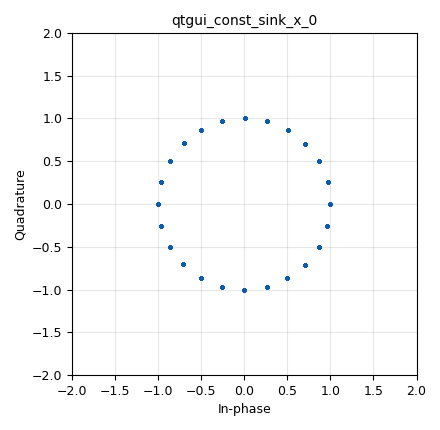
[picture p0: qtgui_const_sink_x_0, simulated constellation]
options:
  parameters:
    author: Gary Schafer
    generate_options: qt_gui
    id: swTunerSinusoids
    output_language: python
    title: Software Tuner - Sinusoid
  states: {}

blocks:
- name: cf
  id: variable_qtgui_entry
  parameters:
    gui_hint: 0,0,1,10
    label: Center Frequency (MHz)
    type: real
    value: '162.3'
  states: {}
- name: freqShift
  id: variable_qtgui_range
  parameters:
    gui_hint: 1,0,1,20
    label: Frequency Shift (kHz)
    start: '-samp_rate/1000'
    step: '1'
    stop: samp_rate/1000
    value: '-100'
  states: {}
- name: rfGain
  id: variable_qtgui_range
  parameters:
    gui_hint: 0,10,1,10
    label: RF Gain (dB)
    start: '0'
    step: '1'
    stop: '50'
    value: '20'
  states: {}
- name: samp_rate
  id: variable
  parameters:
    value: 2.4e6
  states: {}
- name: analog_const_source_x_0
  id: analog_const_source_x
  parameters:
    comment: |-
      Create line at center
      frequency.
    const: '10'
    type: complex
  states: {}
- name: analog_sig_source_x_0
  id: analog_sig_source_x
  parameters:
    amp: '1'
    freq: freqShift*1000
    offset: '0'
    phase: '0'
    samp_rate: samp_rate
    type: complex
    waveform: analog.GR_COS_WAVE
  states: {}
- name: blocks_multiply_xx_0
  id: blocks_multiply_xx
  parameters:
    type: complex
  states: {}
- name: qtgui_const_sink_x_0
  id: qtgui_const_sink_x
  parameters:
    grid: 'True'
    gui_hint: 2,15,20,5
    size: '2400'
    style1: '1'
    type: complex
  states: {}
- name: qtgui_freq_sink_x_0
  id: qtgui_freq_sink_x
  parameters:
    bw: samp_rate
    fc: cf*1e6
    fftsize: '16384'
    grid: 'True'
    gui_hint: 2,0,20,15
    label1: Spectrum
    label2: CF
    nconnections: '2'
    type: complex
    ymax: '-20'
    ymin: '-120'
  states: {}
- name: rtlsdr_source_0
  id: rtlsdr_source
  parameters:
    bb_gain0: '20'
    freq0: cf*1e6
    gain0: rfGain
    gain_mode0: 'False'
    if_gain0: '20'
    sample_rate: samp_rate
    sync: pc_clock
    type: fc32
  states: {}

connections:
- [analog_const_source_x_0, '0', qtgui_freq_sink_x_0, '1']
- [analog_sig_source_x_0, '0', blocks_multiply_xx_0, '1']
- [analog_sig_source_x_0, '0', qtgui_const_sink_x_0, '0']
- [blocks_multiply_xx_0, '0', qtgui_freq_sink_x_0, '0']
- [rtlsdr_source_0, '0', blocks_multiply_xx_0, '0']

metadata:
  file_format: 1
